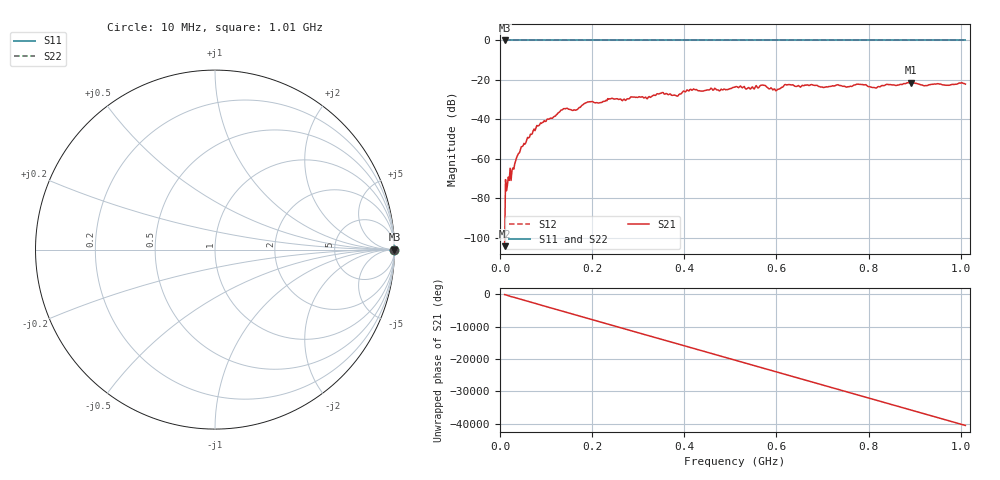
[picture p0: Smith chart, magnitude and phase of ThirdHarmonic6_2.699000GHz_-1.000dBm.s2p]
! 8/17/2025 6:27:13 AM
! C:\ANRITSUVNA\TEMP\TEMP.S2P
! CHANNEL.1
! TR.MEASUREMENT
! RAW.DATA
! RF.CORRECTION.OFF
! AVERAGING.OFF
! IF.BANDWIDTH: 5KHZ
! SWEEPTYPE:  FREQ.SWEEP(Linear)
! Reference Plane Port Info
! PORT:  PORT1  PORT2
! DISTANCE:  0  m  0  m
! TIME:  0  s  0  s
! PHASE.OFFSET:  0  deg.  0  deg.
! LOSS:  0  dB  0  dB
! REF.LOSS:  0  dB  0  dB
! REF.FREQ:  0  Hz  0  Hz
! Power Info
! POWER:  -20  dBm  -20  dBm
! EFF.POWER:  -20  dBm  -20  dBm
! SOURCE.ATTEN:  0  dB  0  dB
! TEST.ATTEN:  0  dB  0  dB
# GHZ S RI R 50.0
! FREQ.GHZ  S11RE  S11IM  S21RE  S21IM  S12RE  S12IM  S22RE  S22IM
!; PortSelection: Port_12
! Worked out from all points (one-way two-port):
!   501 points, 10 MHz to 1.01 GHz, reference 50 ohm
!   highest |S21| = -21.38 dB at 892 MHz (marker M1); lowest = -104.4 dB at 10 MHz (marker M2)
!   lowest |S11| = 0.0 dB at 10 MHz (marker M3)
!   |S11| at or under -10 dB: nowhere
!   |S22| runs from 0.0 to 0.0 dB; largest |S21 - S12| = 1.1
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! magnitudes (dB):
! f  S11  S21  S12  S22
! 10 MHz  0.0  -104.4  0.0  0.0
! 42 MHz  0.0  -57.0  0.0  0.0
! 76 MHz  0.0  -45.7  0.0  0.0
! 136 MHz  0.0  -35.1  0.0  0.0
! 162 MHz  0.0  -35.3  0.0  0.0
! 178 MHz  0.0  -32.9  0.0  0.0
! 194 MHz  0.0  -31.1  0.0  0.0
! 316 MHz  0.0  -28.7  0.0  0.0
! 344 MHz  0.0  -27.2  0.0  0.0
! 384 MHz  0.0  -28.2  0.0  0.0
! 416 MHz  0.0  -25.3  0.0  0.0
! 510 MHz  0.0  -23.6  0.0  0.0
! 572 MHz  0.0  -22.7  0.0  0.0
! 602 MHz  0.0  -24.9  0.0  0.0
! 622 MHz  0.0  -22.6  0.0  0.0
! 678 MHz  0.0  -22.6  0.0  0.0
! 780 MHz  0.0  -22.3  0.0  0.0
! 814 MHz  0.0  -24.0  0.0  0.0
! 844 MHz  0.0  -22.4  0.0  0.0
! 892 MHz  0.0  -21.4  0.0  0.0
! 922 MHz  0.0  -23.0  0.0  0.0
! 1.01 GHz  0.0  -22.2  0.0  0.0
